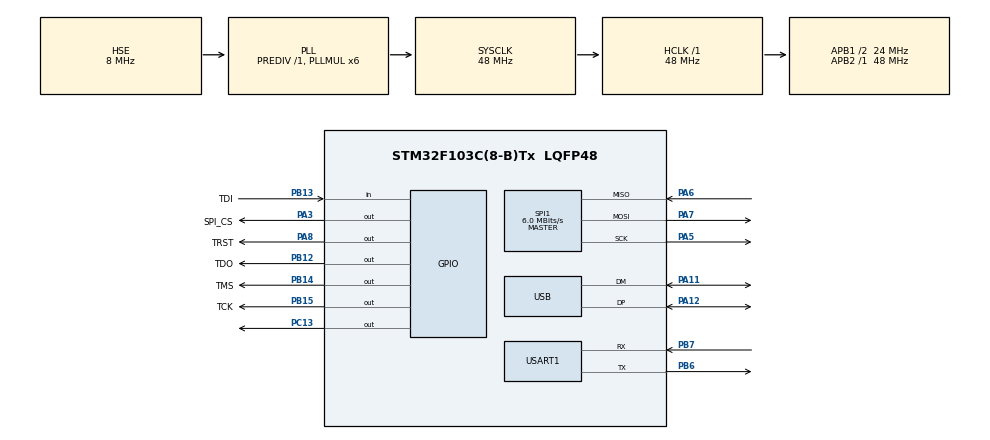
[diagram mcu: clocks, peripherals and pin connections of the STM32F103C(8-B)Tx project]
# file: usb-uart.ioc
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FATFS._MAX_SS=4096
FATFS._USE_LFN=1
Mcu.Family=STM32F1
Mcu.Name=STM32F103C(8-B)Tx
Mcu.Package=LQFP48
NVIC.PriorityGroup=NVIC_PRIORITYGROUP_4
NVIC.SPI1_IRQn=true\:0\:0\:false\:false\:true
NVIC.TIM2_IRQn=true\:0\:0\:false\:false\:true
NVIC.USART1_IRQn=true\:0\:0\:false\:false\:true
NVIC.USB_LP_CAN1_RX0_IRQn=true\:0\:0\:false\:false\:true
PA11.Mode=Device
PA11.Signal=USB_DM
PA12.Mode=Device
PA12.Signal=USB_DP
PA13.Mode=Serial_Wire
PA13.Signal=SYS_JTMS-SWDIO
PA14.Mode=Serial_Wire
PA14.Signal=SYS_JTCK-SWCLK
PA3.GPIO_Label=SPI_CS
PA3.GPIO_Speed=GPIO_SPEED_FREQ_MEDIUM
PA3.Signal=GPIO_Output
PA5.Mode=Full_Duplex_Master
PA5.Signal=SPI1_SCK
PA6.Mode=Full_Duplex_Master
PA6.Signal=SPI1_MISO
PA7.Mode=Full_Duplex_Master
PA7.Signal=SPI1_MOSI
PA8.GPIO_Label=TRST
PA8.GPIO_Speed=GPIO_SPEED_FREQ_HIGH
PA8.Signal=GPIO_Output
PB12.GPIO_Label=TDO
PB12.GPIO_Speed=GPIO_SPEED_FREQ_MEDIUM
PB12.PinState=GPIO_PIN_RESET
PB12.Signal=GPIO_Output
PB13.GPIO_Label=TDI
PB13.Signal=GPIO_Input
PB14.GPIO_Label=TMS
PB14.GPIO_Speed=GPIO_SPEED_FREQ_HIGH
PB14.Signal=GPIO_Output
PB15.GPIO_Label=TCK
PB15.GPIO_Speed=GPIO_SPEED_FREQ_HIGH
PB15.Signal=GPIO_Output
PB6.Mode=Asynchronous
PB6.Signal=USART1_TX
PB7.Mode=Asynchronous
PB7.Signal=USART1_RX
PC13-TAMPER-RTC.Signal=GPIO_Output
PD0-OSC_IN.Mode=HSE-External-Oscillator
PD0-OSC_IN.Signal=RCC_OSC_IN
PD1-OSC_OUT.Mode=HSE-External-Oscillator
PD1-OSC_OUT.Signal=RCC_OSC_OUT
ProjectManager.HeapSize=0x200
ProjectManager.StackSize=0x400
ProjectManager.TargetToolchain=MDK-ARM V5
RCC.AHBFreq_Value=48000000
RCC.APB1CLKDivider=RCC_HCLK_DIV2
RCC.APB1Freq_Value=24000000
RCC.APB1TimFreq_Value=48000000
RCC.APB2Freq_Value=48000000
RCC.APB2TimFreq_Value=48000000
RCC.HCLKFreq_Value=48000000
RCC.PLLMUL=RCC_PLL_MUL6
RCC.SYSCLKFreq_VALUE=48000000
RCC.SYSCLKSource=RCC_SYSCLKSOURCE_PLLCLK
RCC.USBFreq_Value=48000000
SPI1.BaudRatePrescaler=SPI_BAUDRATEPRESCALER_8
SPI1.CalculateBaudRate=6.0 MBits/s
SPI1.Direction=SPI_DIRECTION_2LINES
SPI1.Mode=SPI_MODE_MASTER
SPI1.VirtualType=VM_MASTER
TIM2.Period=10
TIM2.Prescaler=39999
USART1.VirtualMode=VM_ASYNC
USB_DEVICE.CLASS_NAME_FS=CDC
USB_DEVICE.VirtualMode=Cdc
USB_DEVICE.VirtualModeFS=Cdc_FS
VP_FATFS_VS_Generic.Mode=User_defined
VP_TIM2_VS_ClockSourceINT.Mode=Internal
VP_USB_DEVICE_VS_USB_DEVICE_CDC_FS.Mode=CDC_FS
board=usb-uart

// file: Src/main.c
/**
  ******************************************************************************
  * File Name          : main.c
  * Description        : Main program body
  ******************************************************************************
  * This notice applies to any and all portions of this file
  * that are not between comment pairs USER CODE BEGIN and
  * USER CODE END. Other portions of this file, whether
  * inserted by the user or by software development tools
  * are owned by their respective copyright owners.
  *
  * Copyright (c) 2018 STMicroelectronics International N.V.
  * All rights reserved.
  *
  * Redistribution and use in source and binary forms, with or without
  * modification, are permitted, provided that the following conditions are met:
  *
  * 1. Redistribution of source code must retain the above copyright notice,
  *    this list of conditions and the following disclaimer.
  * 2. Redistributions in binary form must reproduce the above copyright notice,
  *    this list of conditions and the following disclaimer in the documentation
  *    and/or other materials provided with the distribution.
  * 3. Neither the name of STMicroelectronics nor the names of other
  *    contributors to this software may be used to endorse or promote products
  *    derived from this software without specific written permission.
  * 4. This software, including modifications and/or derivative works of this
  *    software, must execute solely and exclusively on microcontroller or
  *    microprocessor devices manufactured by or for STMicroelectronics.
  * 5. Redistribution and use of this software other than as permitted under
  *    this license is void and will automatically terminate your rights under
  *    this license.
  *
  * THIS SOFTWARE IS PROVIDED BY STMICROELECTRONICS AND CONTRIBUTORS "AS IS"
  * AND ANY EXPRESS, IMPLIED OR STATUTORY WARRANTIES, INCLUDING, BUT NOT
  * LIMITED TO, THE IMPLIED WARRANTIES OF MERCHANTABILITY, FITNESS FOR A
  * PARTICULAR PURPOSE AND NON-INFRINGEMENT OF THIRD PARTY INTELLECTUAL PROPERTY
  * RIGHTS ARE DISCLAIMED TO THE FULLEST EXTENT PERMITTED BY LAW. IN NO EVENT
  * SHALL STMICROELECTRONICS OR CONTRIBUTORS BE LIABLE FOR ANY DIRECT, INDIRECT,
  * INCIDENTAL, SPECIAL, EXEMPLARY, OR CONSEQUENTIAL DAMAGES (INCLUDING, BUT NOT
  * LIMITED TO, PROCUREMENT OF SUBSTITUTE GOODS OR SERVICES; LOSS OF USE, DATA,
  * OR PROFITS; OR BUSINESS INTERRUPTION) HOWEVER CAUSED AND ON ANY THEORY OF
  * LIABILITY, WHETHER IN CONTRACT, STRICT LIABILITY, OR TORT (INCLUDING
  * NEGLIGENCE OR OTHERWISE) ARISING IN ANY WAY OUT OF THE USE OF THIS SOFTWARE,
  * EVEN IF ADVISED OF THE POSSIBILITY OF SUCH DAMAGE.
  *
  ******************************************************************************
  */
#include "main.h"
#include "stm32f1xx_hal.h"
#include "fatfs.h"
#include "usb_device.h"

/* USER CODE BEGIN Includes */
#include "usbd_cdc_if.h"
#include "sd.h"
/* USER CODE END Includes */

SPI_HandleTypeDef hspi1;

TIM_HandleTypeDef htim2;

UART_HandleTypeDef huart1;

/* USER CODE BEGIN PV */
/* Private variables ---------------------------------------------------------*/
uint8_t Byte1=0;
volatile uint16_t Timer1=0;
//uint8_t sect[512];//для сохранения бйтов из блока
uint8_t Buf[] = "test";
char buffer1[] ="random data 1234567890"; //Буфер данных для записи/чтения
extern char str1[60];
//uint32_t byteswritten,bytesread;
//uint8_t result;
extern char USER_Path[4]; /* logical drive path */
FATFS SDFatFs;
//FATFS *fs;
//FIL MyFile;
/* USER CODE END PV */

void SystemClock_Config(void);
static void MX_GPIO_Init(void);
static void MX_USART1_UART_Init(void);
static void MX_TIM2_Init(void);
static void MX_SPI1_Init(void);

/* USER CODE BEGIN PFP */
/* Private function prototypes -----------------------------------------------*/

/* USER CODE END PFP */

/* USER CODE BEGIN 0 */
void bitOutput(unsigned int a) {
	for (int i = 0; i < 32; i++)
	{
		//Проверяем старший бит)
		if (a & 0x80000000)
			CDC_Transmit_FS((uint8_t*)"1",1);
		else
			CDC_Transmit_FS((uint8_t*)"0",1);
		//Сдвигаем влево на 1 бит
		a = a << 1;
	}
};

/* USER CODE END 0 */

int main(void)
{

  /* USER CODE BEGIN 1 */
	uint16_t i;
	FRESULT res; //результат выполнения
	uint8_t wtext[]="The first form of PIOMAP defines the I/O direction and logical name for each column, in the order the vector characters appear in the PIO statement. The first logical_name corresponds to the first character of the vector_string in PIO statements; the second logical_name corresponds to the second character of the vector_string; and so forth";
	FILINFO fileInfo;
	char *fn;
	DIR dir;
	DWORD fre_clust, fre_sect, tot_sect;
  /* USER CODE END 1 */

  /* MCU Configuration----------------------------------------------------------*/

  /* Reset of all peripherals, Initializes the Flash interface and the Systick. */
  HAL_Init();

  /* Configure the system clock */
  SystemClock_Config();

  /* Initialize all configured peripherals */
  MX_GPIO_Init();
  MX_USART1_UART_Init();
  MX_USB_DEVICE_Init();
  MX_FATFS_Init();
  MX_TIM2_Init();
  MX_SPI1_Init();

  /* USER CODE BEGIN 2 */

	HAL_Delay(5000);
	HAL_UART_Receive_IT(&huart1, &Byte1, 1);
	//запустмим таймер
//	HAL_TIM_Base_Start_IT(&htim2);
//
//
// CDC_Transmit_FS((uint8_t*)"\r\nsd init\r\n",11);
//disk_initialize(SDFatFs.drv);
//	CDC_Transmit_FS((uint8_t*)"\r\nwrite\r\n", 9);
//write_f1("mywrite3.txt", wtext, sizeof(wtext));

//	CDC_Transmit_FS((uint8_t*)"\r\nread\r\n", 8);
//read1("mywrite3.txt");
//
//FATFS_UnLinkDriver(USER_Path);

  /* USER CODE END 2 */

  /* Infinite loop */
  /* USER CODE BEGIN WHILE */
  while (1)
  {
		//CDC_Transmit_FS((uint8_t*)"LOOP\n", 5);
	bitOutput(11);
		HAL_Delay(10000);

  /* USER CODE END WHILE */

  }

}

/** System Clock Configuration
*/
void SystemClock_Config(void)
{

  RCC_OscInitTypeDef RCC_OscInitStruct;
  RCC_ClkInitTypeDef RCC_ClkInitStruct;
  RCC_PeriphCLKInitTypeDef PeriphClkInit;

    /**Initializes the CPU, AHB and APB busses clocks
    */
  RCC_OscInitStruct.OscillatorType = RCC_OSCILLATORTYPE_HSE;
  RCC_OscInitStruct.HSEState = RCC_HSE_ON;
  RCC_OscInitStruct.HSEPredivValue = RCC_HSE_PREDIV_DIV1;
  RCC_OscInitStruct.HSIState = RCC_HSI_ON;
  RCC_OscInitStruct.PLL.PLLState = RCC_PLL_ON;
  RCC_OscInitStruct.PLL.PLLSource = RCC_PLLSOURCE_HSE;
  RCC_OscInitStruct.PLL.PLLMUL = RCC_PLL_MUL6;
  if (HAL_RCC_OscConfig(&RCC_OscInitStruct) != HAL_OK)
  {
    _Error_Handler(__FILE__, __LINE__);
  }

    /**Initializes the CPU, AHB and APB busses clocks
    */
  RCC_ClkInitStruct.ClockType = RCC_CLOCKTYPE_HCLK|RCC_CLOCKTYPE_SYSCLK
                              |RCC_CLOCKTYPE_PCLK1|RCC_CLOCKTYPE_PCLK2;
  RCC_ClkInitStruct.SYSCLKSource = RCC_SYSCLKSOURCE_PLLCLK;
  RCC_ClkInitStruct.AHBCLKDivider = RCC_SYSCLK_DIV1;
  RCC_ClkInitStruct.APB1CLKDivider = RCC_HCLK_DIV2;
  RCC_ClkInitStruct.APB2CLKDivider = RCC_HCLK_DIV1;

  if (HAL_RCC_ClockConfig(&RCC_ClkInitStruct, FLASH_LATENCY_1) != HAL_OK)
  {
    _Error_Handler(__FILE__, __LINE__);
  }

  PeriphClkInit.PeriphClockSelection = RCC_PERIPHCLK_USB;
  PeriphClkInit.UsbClockSelection = RCC_USBCLKSOURCE_PLL;
  if (HAL_RCCEx_PeriphCLKConfig(&PeriphClkInit) != HAL_OK)
  {
    _Error_Handler(__FILE__, __LINE__);
  }

    /**Configure the Systick interrupt time
    */
  HAL_SYSTICK_Config(HAL_RCC_GetHCLKFreq()/1000);

    /**Configure the Systick
    */
  HAL_SYSTICK_CLKSourceConfig(SYSTICK_CLKSOURCE_HCLK);

  /* SysTick_IRQn interrupt configuration */
  HAL_NVIC_SetPriority(SysTick_IRQn, 0, 0);
}

/* SPI1 init function */
static void MX_SPI1_Init(void)
{

  hspi1.Instance = SPI1;
  hspi1.Init.Mode = SPI_MODE_MASTER;
  hspi1.Init.Direction = SPI_DIRECTION_2LINES;
  hspi1.Init.DataSize = SPI_DATASIZE_8BIT;
  hspi1.Init.CLKPolarity = SPI_POLARITY_LOW;
  hspi1.Init.CLKPhase = SPI_PHASE_1EDGE;
  hspi1.Init.NSS = SPI_NSS_SOFT;
  hspi1.Init.BaudRatePrescaler = SPI_BAUDRATEPRESCALER_8;
  hspi1.Init.FirstBit = SPI_FIRSTBIT_MSB;
  hspi1.Init.TIMode = SPI_TIMODE_DISABLE;
  hspi1.Init.CRCCalculation = SPI_CRCCALCULATION_DISABLE;
  hspi1.Init.CRCPolynomial = 10;
  if (HAL_SPI_Init(&hspi1) != HAL_OK)
  {
    _Error_Handler(__FILE__, __LINE__);
  }

}

/* TIM2 init function */
static void MX_TIM2_Init(void)
{

  TIM_ClockConfigTypeDef sClockSourceConfig;
  TIM_MasterConfigTypeDef sMasterConfig;

  htim2.Instance = TIM2;
  htim2.Init.Prescaler = 39999;
  htim2.Init.CounterMode = TIM_COUNTERMODE_UP;
  htim2.Init.Period = 10;
  htim2.Init.ClockDivision = TIM_CLOCKDIVISION_DIV1;
  htim2.Init.AutoReloadPreload = TIM_AUTORELOAD_PRELOAD_DISABLE;
  if (HAL_TIM_Base_Init(&htim2) != HAL_OK)
  {
    _Error_Handler(__FILE__, __LINE__);
  }

  sClockSourceConfig.ClockSource = TIM_CLOCKSOURCE_INTERNAL;
  if (HAL_TIM_ConfigClockSource(&htim2, &sClockSourceConfig) != HAL_OK)
  {
    _Error_Handler(__FILE__, __LINE__);
  }

  sMasterConfig.MasterOutputTrigger = TIM_TRGO_RESET;
  sMasterConfig.MasterSlaveMode = TIM_MASTERSLAVEMODE_DISABLE;
  if (HAL_TIMEx_MasterConfigSynchronization(&htim2, &sMasterConfig) != HAL_OK)
  {
    _Error_Handler(__FILE__, __LINE__);
  }

}

/* USART1 init function */
static void MX_USART1_UART_Init(void)
{

  huart1.Instance = USART1;
  huart1.Init.BaudRate = 115200;
  huart1.Init.WordLength = UART_WORDLENGTH_8B;
  huart1.Init.StopBits = UART_STOPBITS_1;
  huart1.Init.Parity = UART_PARITY_NONE;
  huart1.Init.Mode = UART_MODE_TX_RX;
  huart1.Init.HwFlowCtl = UART_HWCONTROL_NONE;
  huart1.Init.OverSampling = UART_OVERSAMPLING_16;
  if (HAL_UART_Init(&huart1) != HAL_OK)
  {
    _Error_Handler(__FILE__, __LINE__);
  }

}

/** Configure pins as
        * Analog
        * Input
        * Output
        * EVENT_OUT
        * EXTI
*/
static void MX_GPIO_Init(void)
{

  GPIO_InitTypeDef GPIO_InitStruct;

  /* GPIO Ports Clock Enable */
  __HAL_RCC_GPIOC_CLK_ENABLE();
  __HAL_RCC_GPIOD_CLK_ENABLE();
  __HAL_RCC_GPIOA_CLK_ENABLE();
  __HAL_RCC_GPIOB_CLK_ENABLE();

  /*Configure GPIO pin Output Level */
  HAL_GPIO_WritePin(GPIOC, GPIO_PIN_13, GPIO_PIN_RESET);

  /*Configure GPIO pin Output Level */
  HAL_GPIO_WritePin(GPIOA, SPI_CS_Pin|TRST_Pin, GPIO_PIN_RESET);

  /*Configure GPIO pin Output Level */
  HAL_GPIO_WritePin(GPIOB, TDO_Pin|TMS_Pin|TCK_Pin, GPIO_PIN_RESET);

  /*Configure GPIO pin : PC13 */
  GPIO_InitStruct.Pin = GPIO_PIN_13;
  GPIO_InitStruct.Mode = GPIO_MODE_OUTPUT_PP;
  GPIO_InitStruct.Speed = GPIO_SPEED_FREQ_LOW;
  HAL_GPIO_Init(GPIOC, &GPIO_InitStruct);

  /*Configure GPIO pin : SPI_CS_Pin */
  GPIO_InitStruct.Pin = SPI_CS_Pin;
  GPIO_InitStruct.Mode = GPIO_MODE_OUTPUT_PP;
  GPIO_InitStruct.Speed = GPIO_SPEED_FREQ_MEDIUM;
  HAL_GPIO_Init(SPI_CS_GPIO_Port, &GPIO_InitStruct);

  /*Configure GPIO pin : TDO_Pin */
  GPIO_InitStruct.Pin = TDO_Pin;
  GPIO_InitStruct.Mode = GPIO_MODE_OUTPUT_PP;
  GPIO_InitStruct.Speed = GPIO_SPEED_FREQ_MEDIUM;
  HAL_GPIO_Init(TDO_GPIO_Port, &GPIO_InitStruct);

  /*Configure GPIO pin : TDI_Pin */
  GPIO_InitStruct.Pin = TDI_Pin;
  GPIO_InitStruct.Mode = GPIO_MODE_INPUT;
  GPIO_InitStruct.Pull = GPIO_NOPULL;
  HAL_GPIO_Init(TDI_GPIO_Port, &GPIO_InitStruct);

  /*Configure GPIO pins : TMS_Pin TCK_Pin */
  GPIO_InitStruct.Pin = TMS_Pin|TCK_Pin;
  GPIO_InitStruct.Mode = GPIO_MODE_OUTPUT_PP;
  GPIO_InitStruct.Speed = GPIO_SPEED_FREQ_HIGH;
  HAL_GPIO_Init(GPIOB, &GPIO_InitStruct);

  /*Configure GPIO pin : TRST_Pin */
  GPIO_InitStruct.Pin = TRST_Pin;
  GPIO_InitStruct.Mode = GPIO_MODE_OUTPUT_PP;
  GPIO_InitStruct.Speed = GPIO_SPEED_FREQ_HIGH;
  HAL_GPIO_Init(TRST_GPIO_Port, &GPIO_InitStruct);

}

/* USER CODE BEGIN 4 */

//----------------------------------------------------------
//инкрементируем глобальную переменную в обработчике прерываний таймера
void HAL_TIM_PeriodElapsedCallback(TIM_HandleTypeDef *htim){
if(htim==&htim2){
	Timer1++;
	}
}

void HAL_UART_RxCpltCallback(UART_HandleTypeDef *huart)//функция вызывается автоматически после приема данных в UART
{
	if (hUsbDeviceFS.dev_state == 0x03 && (Byte1 != NULL))//проверяем, подключен ли USB
		CDC_Transmit_FS(&Byte1,1);//отправляет байт в USB

	HAL_UART_Receive_IT(&huart1, &Byte1, 1);//заказываем прием следующего байта из UART
}

/* USER CODE END 4 */

void _Error_Handler(char * file, int line)
{
  /* USER CODE BEGIN Error_Handler_Debug */
  /* User can add his own implementation to report the HAL error return state */
  while(1)
  {
		break;
  }
  /* USER CODE END Error_Handler_Debug */
}

/************************ (C) COPYRIGHT STMicroelectronics *****END OF FILE****/
